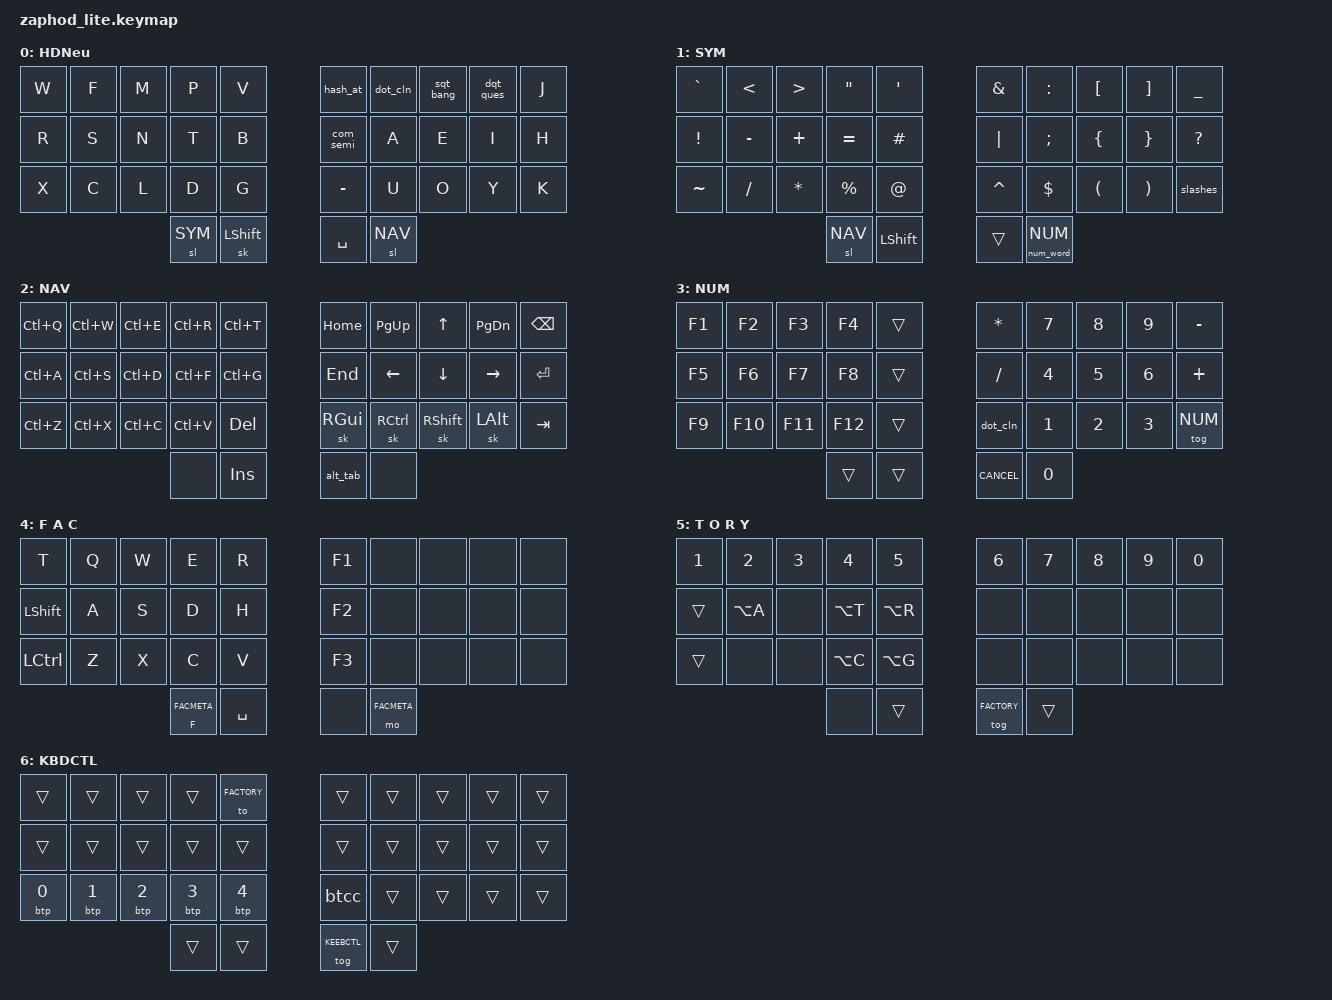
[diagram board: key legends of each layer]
/*
 * Copyright (c) 2024-2025 Allister MacLeod
 *
 * SPDX-License-Identifier: MIT
 */

#include <behaviors.dtsi>
#include <dt-bindings/zmk/bt.h>
#include <dt-bindings/zmk/keys.h>

#include "zmk-helpers/helper.h"
#include "zmk-helpers/key-labels/34.h"

#include <behaviors/num_word.dtsi>

// Zaphod Lite keymap.

// TO-DO list:
// - "smart" semi-layers: smart nav stays in arrows and nav until non-nav pressed, for example

#define DEFAULT 0
#define HD_NEU  0
#define SYM     1
#define NAV     2
#define NUM     3
#define FACTORY 4
#define GAMING  4
#define FACMETA 5
#define KEEBCTL 6

#include "glam-multigraph.dtsi"
#include "glam-util.dtsi"

// This bt-kbdctl include needs to be after the layer defines,
// specifically the one for KEEBCTL.
#include "glam-bt-kbdctl.dtsi"

// Placeholder for unused parameters.
#define UNUSED 0

//   0   1   2   3   4       5   6   7   8   9
//  10  11  12  13  14      15  16  17  18  19
//  20  21  22  23  24      25  26  27  28  29
//               30  31    32  33

// LT4 LT3 LT2 LT1 LT0     RT0 RT1 RT2 RT3 RT4
// LM4 LM3 LM2 LM1 LM0     RM0 RM1 RM2 RM3 RM4
// LB4 LB3 LB2 LB1 LB0     RB0 RB1 RB2 RB3 RB4
//              LH1 LH0   RH0 RH1

// Key groups for cross-hand hold trigger definitions.
#define KEYS_LEFT  LT4 LT3 LT2 LT1 LT0  LM4 LM3 LM2 LM1 LM0  LB4 LB3 LB2 LB1 LB0
#define KEYS_RIGHT RT0 RT1 RT2 RT3 RT4  RM0 RM1 RM2 RM3 RM4  RB0 RB1 RB2 RB3 RB4
#define KEYS_THUMB LH1 LH0  RH0 RH1

/ {
combos {
  compatible = "zmk,combos";

#include "glam-neu-combos.dtsi"

#include "glam-factorio-combos.dtsi"

#include "glam-sym-nav-num-combos.dtsi"

  // All four thumb keys for keyboard control layer.
  combo_thumbs_keyboard_control {
    timeout-ms = <50>;
    key-positions = <LH1 LH0 RH0 RH1>;
    bindings = <&tog KEEBCTL>;
  };
  // Right hand index and ring fingers for BT_CLR_ALL but only on KEEBCTL layer.
  combo_bt_clear_all {
    timeout-ms = <50>;
    key-positions = <RB1 RB3>;
    bindings = <&btclall>;
    layers = <KEEBCTL>;
  };
  // Top and bottom keys on both innermost columns to enter flashing
  // mode.
  combo_bootsel {
    timeout-ms = <50>;
    key-positions = <LT0 LB0 RT0 RB0>;
    bindings = <&bootloader>;
  };
  // Top right hand inner two keys for alt-tab tri-state.
  combo_alt_tab {
    timeout-ms = <50>;
    key-positions = <RT0 RT1>;
    bindings = <&alt_tab>;
  };
};

behaviors {
  // Symbol morphs for non-conventional shifting.
  hash_at: morph_octothorpe_amphora {
    compatible = "zmk,behavior-mod-morph";
    #binding-cells = <0>;
    bindings = <&kp HASH>, <&kp AT>;
    mods = <(MOD_LSFT|MOD_RSFT)>;
  };
  dot_cln: morph_period_colon {
    compatible = "zmk,behavior-mod-morph";
    #binding-cells = <0>;
    bindings = <&kp DOT>, <&kp COLON>;
    mods = <(MOD_LSFT|MOD_RSFT)>;
  };
  sqt_bang: morph_apostrophe_exclamation {
    compatible = "zmk,behavior-mod-morph";
    #binding-cells = <0>;
    bindings = <&kp SQT>, <&kp EXCL>;
    mods = <(MOD_LSFT|MOD_RSFT)>;
  };
  dqt_ques: morph_quote_question {
    compatible = "zmk,behavior-mod-morph";
    #binding-cells = <0>;
    bindings = <&kp DQT>, <&kp QMARK>;
    mods = <(MOD_LSFT|MOD_RSFT)>;
  };
  com_semi: morph_comma_semicolon {
    compatible = "zmk,behavior-mod-morph";
    #binding-cells = <0>;
    bindings = <&kp COMMA>, <&kp SEMICOLON>;
    mods = <(MOD_LSFT|MOD_RSFT)>;
  };
  slashes: morph_slash_backslash {
    compatible = "zmk,behavior-mod-morph";
    #binding-cells = <0>;
    bindings = <&kp SLASH>, <&kp BACKSLASH>;
    mods = <(MOD_LSFT|MOD_RSFT)>;
  };
  // Morph for smart-shift inspired by urob.
  smart_shift: morph_smart_shift {
    compatible = "zmk,behavior-mod-morph";
    #binding-cells = <0>;
    bindings = <&sk LSHIFT>, <&caps_word>;
    mods = <(MOD_LSFT)>;
  };
  // Hold tap where the tap is a sticky layer, kind of the converse of
  // a layer-tap. This has a short tapping term since it is meant for
  // the Factorio layer's "hold to pick up from ground (F), tap for
  // sticky overlay" binding, and I do not want to have to wait too
  // terribly long for stuff to start getting picked up.
  slt: sticky_layer_tap {
    compatible = "zmk,behavior-hold-tap";
    #binding-cells = <2>;
    bindings = <&kp &sl>;
    flavor = "tap-preferred";
    tapping-term-ms = <200>;
    quick-tap-ms = <100>;
  };
  // App-switch tri-state; tap repeatedly to switch windows.
  alt_tab: alt_tab_bookend {
    compatible = "zmk,behavior-tri-state";
    #binding-cells = <0>;
    bindings = <&kt LALT>, <&kp TAB>, <&kt LALT>;
    ignored-key-positions = <RT0 RT1>;
  };
};

keymap {
  compatible = "zmk,keymap";
  hands_down_neu_layer {
// Hands Down Neu with punctuation moved a bit to match my habits.
// Q and Z exist only in combos.
// ,-----------------------------.   ,-----------------------------.
// |  W  |  F  |  M  |  P  |  V  |   | # @ | . : | ' ! | " ? |  J  |
// |  R  |  S  |  N  |  T  |  B  |   | , ; |  A  |  E  |  I  |  H  |
// |  X  |  C  |  L  |  D  |  G  |   |  -  |  U  |  O  |  Y  |  K  |
// `-----------------| SYM |Shift|   | Spc | NAV |-----------------'
    bindings = <
&kp W &kp F &kp M &kp P &kp V        &hash_at  &dot_cln &sqt_bang &dqt_ques &kp J
&kp R &kp S &kp N &kp T &kp B        &com_semi &kp A    &kp E     &kp I     &kp H
&kp X &kp C &kp L &kp D &kp G        &kp MINUS &kp U    &kp O     &kp Y     &kp K
           &sl SYM &sk LSHIFT      &kp SPACE &sl NAV
    >;
    display-name = "HDNeu";
  };
  symbols_layer {
// ,-----------------------------.   ,-----------------------------.
// |  `  |  <  |  >  |  "  |  '  |   |  &  |  :  |  [  |  ]  |  _  |
// |  !  |  -  |  +  |  =  |  #  |   |  |  |  ;  |  {  |  }  |  ?  |
// |  ~  |  /  |  *  |  %  |  @  |   |  ^  |  $  |  (  |  )  | / \ |
// `-----------------| NAV |Shift|   |     | NUM |-----------------'
    bindings = <
&kp GRAVE &kp LT    &kp GT   &kp DQT     &kp SQT      &kp AMPS  &kp COLON  &kp LBKT &kp RBKT &kp UNDER
&kp EXCL  &kp MINUS &kp PLUS &kp EQUAL   &kp HASH     &kp PIPE  &kp SEMI   &kp LBRC &kp RBRC &kp QMARK
&kp TILDE &kp SLASH &kp STAR &kp PERCENT &kp AT       &kp CARET &kp DOLLAR &kp LPAR &kp RPAR &slashes
                               &sl NAV &kp LSHIFT    &trans &num_word NUM
    >;
    display-name = "SYM";
  };
  navigation_layer {
// ,-----------------------------.   ,-----------------------------.
// | ^Q  | ^W  | ^E  | ^R  | ^T  |   | Home| PgU |  Up | PgD | Bks |
// | ^A  | ^S  | ^D  | ^F  | ^G  |   | End | Left| Down|Right| Ret |
// | ^Z  | ^X  | ^C  | ^V  | Del |   | GUI | Ctrl|Shift| Alt | Tab |
// `-----------------|XXXXX| Ins |   |Altab|XXXXX|-----------------'
    bindings = <
&kp LC(Q) &kp LC(W) &kp LC(E) &kp LC(R) &kp LC(T)   &kp HOME &kp PG_UP &kp UP     &kp PG_DN &kp BSPC
&kp LC(A) &kp LC(S) &kp LC(D) &kp LC(F) &kp LC(G)   &kp END  &kp LEFT  &kp DOWN   &kp RIGHT &kp RET
&kp LC(Z) &kp LC(X) &kp LC(C) &kp LC(V) &kp DEL     &sk RGUI &sk RCTRL &sk RSHIFT &sk LALT  &kp TAB
                                &none &kp INS       &alt_tab &none
    >;
    display-name = "NAV";
  };
  numeric_layer {
// ,-----------------------------.   ,-----------------------------.
// |  F1 |  F2 |  F3 |  F4 |     |   |  *  |  7  |  8  |  9  |  -  |
// |  F5 |  F6 |  F7 |  F8 |     |   |  /  |  4  |  5  |  6  |  +  |
// |  F9 | F10 | F11 | F12 |     |   | . : |  1  |  2  |  3  |Base |
// `-----------------|     |     |   | Exit|  0  |-----------------'
    bindings = <
&kp F1  &kp F2  &kp F3  &kp F4  &trans     &kp STAR  &kp N7 &kp N8 &kp N9 &kp MINUS
&kp F5  &kp F6  &kp F7  &kp F8  &trans     &kp SLASH &kp N4 &kp N5 &kp N6 &kp PLUS
&kp F9  &kp F10 &kp F11 &kp F12 &trans     &dot_cln  &kp N1 &kp N2 &kp N3 &tog NUM
                          &trans &trans   &kp K_CANCEL &kp N0
    >;
    display-name = "NUM";
  };
  factorio_layer {
// ,-----------------------------.   ,-----------------------------.
// |  T  |  Q  |  W  |  E  |  R  |   |  F1 |XXXXX|XXXXX|XXXXX|XXXXX|
// |Shift|  A  |  S  |  D  |  H  |   |  F2 |XXXXX|XXXXX|XXXXX|XXXXX|
// | Ctrl|  Z  |  X  |  C  |  V  |   |  F3 |XXXXX|XXXXX|XXXXX|XXXXX|
// `-----------------|  F  |Space|   |XXXXX| FOV |-----------------'
    bindings = <
&kp T       &kp Q  &kp W  &kp E  &kp R             &kp F1 &none &none &none &none
&kp LSHIFT  &kp A  &kp S  &kp D  &kp H             &kp F2 &none &none &none &none
&kp LCTRL   &kp Z  &kp X  &kp C  &kp V             &kp F3 &none &none &none &none
                   &slt F FACMETA &kp SPACE    &none &mo FACMETA
    >;
    display-name = "F A C";
  };
  factorio_overlay_layer {
// ,-----------------------------.   ,-----------------------------.
// |  1  |  2  |  3  |  4  |  5  |   |  6  |  7  |  8  |  9  |  0  |
// |     |Alt-A|XXXXX|Alt-T|Alt-R|   |XXXXX|XXXXX|XXXXX|XXXXX|XXXXX|
// |     |XXXXX|XXXXX|Alt-C|Alt-G|   |XXXXX|XXXXX|XXXXX|XXXXX|XXXXX|
// `-----------------|#####|     |   |Base |#####|-----------------'
    bindings = <
&kp N1 &kp N2    &kp N3 &kp N4    &kp N5                   &kp N6 &kp N7 &kp N8 &kp N9 &kp N0
&trans &kp LA(A) &none  &kp LA(T) &kp LA(R)                &none  &none  &none  &none  &none
&trans &none     &none  &kp LA(C) &kp LA(G)                &none  &none  &none  &none  &none
                                    &none &trans   &tog FACTORY &trans
    >;
    display-name = "T O R Y";
  };
  keyboard_control_layer {
// Bluetooth clear-all on right hand index and ring finger combo.
// ,-----------------------------.   ,-----------------------------.
// |     |     |     |     | FAC |   |     |     |     |     |     |
// |     |     |     |     |     |   |     |     |     |     |     |
// | BT1 | BT2 | BT3 | BT4 | BT5 |   |ClCur| [-ClAll-] |     |
// `-----------------|     |     |   |Base |     |-----------------'
    bindings = <
&trans &trans &trans &trans &to FACTORY           &trans &trans &trans &trans &trans
&trans &trans &trans &trans &trans                &trans &trans &trans &trans &trans
&btp 0 &btp 1 &btp 2 &btp 3 &btp 4                &btcc &trans &trans &trans &trans
                                &trans &trans   &tog KEEBCTL &trans
    >;
    display-name = "KBDCTL";
  };
};
};

// ,-----------------------------.   ,-----------------------------.
// |     |     |     |     |     |   |     |     |     |     |     |
// |     |     |     |     |     |   |     |     |     |     |     |
// |     |     |     |     |     |   |     |     |     |     |     |
// `-----------------|     |     |   |     |     |-----------------'
